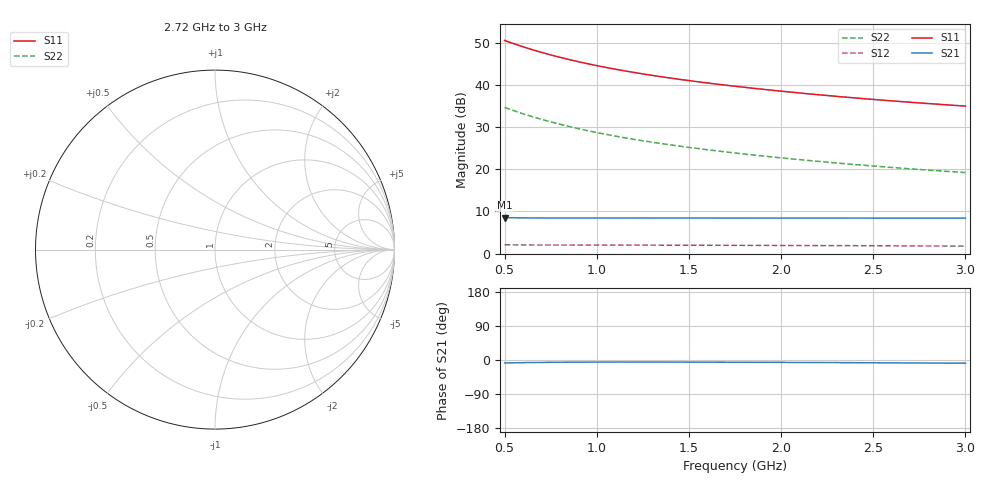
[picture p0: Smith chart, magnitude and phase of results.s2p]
! rfsim (KiCad + openEMS)
# HZ S RI R 50
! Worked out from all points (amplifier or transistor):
!   251 points, 500 MHz to 3 GHz, reference 50 ohm
!   highest |S21| = 8.5 dB at 500 MHz (marker M1)
!   |S21| within 3 dB of that: start of sweep to end of sweep
!   unconditionally stable (mu >= 1): nowhere
!   at 910 MHz: K = 4869748.87, MSG = 3.2 dB, |S12| = 2.0 dB
!   at 1.75 GHz: K = 352340.67, MSG = 3.2 dB, |S12| = 2.0 dB
!   at 3 GHz: K = 41632.17, MSG = 3.3 dB, |S12| = 1.8 dB
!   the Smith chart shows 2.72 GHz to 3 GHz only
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5e8  -58.03 336.4  2.651 -0.3625  1.265 -0.1306  -7.053 54.09
5.4e8  -49.99 313.6  2.643 -0.3444  1.263 -0.1259  -6.33 50.37
5.8e8  -43.39 293.3  2.637 -0.3286  1.262 -0.1222  -5.716 47.08
6.3e8  -36.77 271  2.633 -0.3116  1.26 -0.119  -5.086 43.47
6.8e8  -31.6 251.6  2.632 -0.2974  1.259 -0.1172  -4.586 40.32
7.3e8  -27.54 234.6  2.631 -0.2854  1.257 -0.1167  -4.19 37.56
7.9e8  -23.8 216.7  2.631 -0.2737  1.256 -0.1177  -3.826 34.67
8.5e8  -20.98 201.2  2.632 -0.2646  1.255 -0.1199  -3.554 32.18
9.2e8  -18.51 185.7  2.633 -0.2566  1.255 -0.1237  -3.32 29.68
1.01e9  -16.22 168.8  2.634 -0.2499  1.254 -0.1299  -3.112 26.98
1.11e9  -14.43 153.4  2.635 -0.2464  1.253 -0.1376  -2.956 24.51
1.22e9  -13.02 139.4  2.635 -0.246  1.251 -0.1465  -2.839 22.27
1.34e9  -11.88 126.8  2.634 -0.2487  1.249 -0.1565  -2.747 20.26
1.43e9  -11.2 118.8  2.633 -0.2522  1.247 -0.164  -2.691 18.97
1.53e9  -10.57 111  2.632 -0.257  1.245 -0.1724  -2.637 17.72
1.64e9  -9.983 103.5  2.631 -0.2633  1.242 -0.1817  -2.583 16.53
1.75e9  -9.488 96.99  2.63 -0.2702  1.238 -0.1912  -2.536 15.47
1.95e9  -8.772 86.95  2.628 -0.2842  1.231 -0.2091  -2.463 13.86
2.17e9  -8.206 77.98  2.624 -0.3021  1.224 -0.2294  -2.406 12.41
2.37e9  -7.852 71.25  2.62 -0.3211  1.217 -0.2482  -2.376 11.32
2.59e9  -7.58 65.1  2.616 -0.3443  1.207 -0.2687  -2.36 10.32
3e9  -6.905 56.17  2.607 -0.3873  1.185 -0.3063  -2.3 8.88
